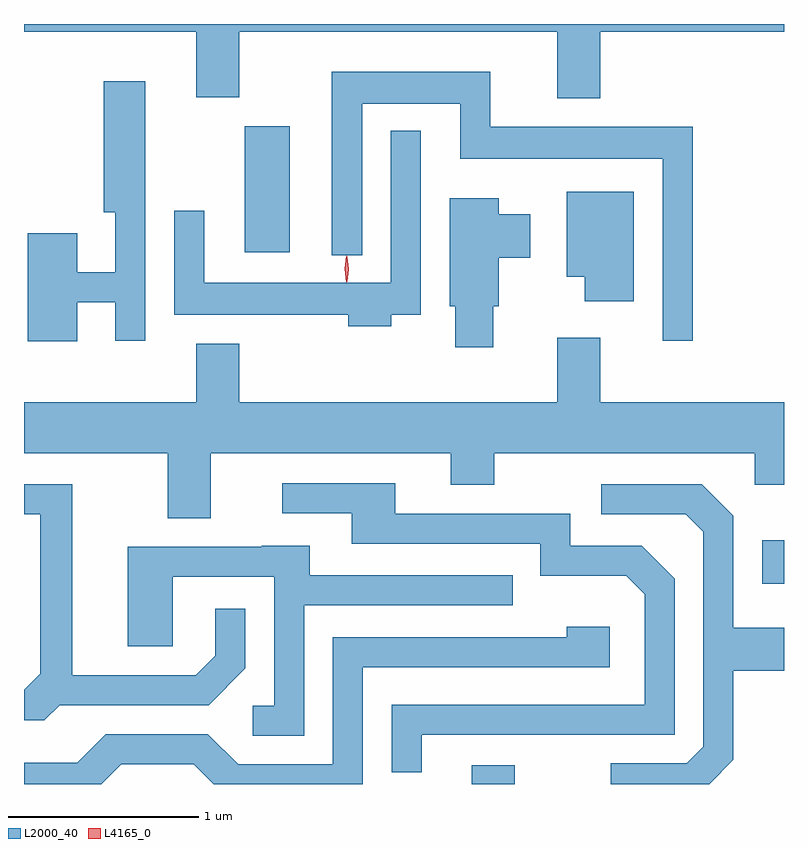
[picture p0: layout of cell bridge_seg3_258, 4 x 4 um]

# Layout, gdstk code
import gdstk
lib = gdstk.Library(unit=1e-6, precision=1e-09)
def R(c, l, rs):  # rectangles x0, y0, x1, y1
    for r in rs: c.add(gdstk.rectangle(r[:2], r[2:], *l))
def P(c, l, *ps):  # polygons
    for p in ps: c.add(gdstk.Polygon(p, *l))
L2000_40 = (2000, 40)
L4165_0 = (4165, 0)

bridge_seg3_258 = lib.new_cell('bridge_seg3_258')
R(bridge_seg3_258, L2000_40, [(1041.221,1133.156,1041.449,1133.254), (1042.751,1134.211,1042.865,1134.439), (1040.026,1135.956,1040.264,1136.619)])
P(bridge_seg3_258, L2000_40, [(1041.899,1137.116),(1042.865,1137.116),(1042.865,1137.156),(1038.865,1137.156),(1038.865,1137.116),(1039.771,1137.116),(1039.771,1136.771),(1039.999,1136.771),(1039.999,1137.116),(1041.671,1137.116),(1041.671,1136.766),(1041.899,1136.766)],
  [(1042.384,1136.614),(1041.319,1136.614),(1041.319,1136.904),(1040.486,1136.904),(1040.486,1135.938),(1040.644,1135.938),(1040.644,1136.736),(1041.161,1136.736),(1041.161,1136.446),(1042.226,1136.446),(1042.226,1135.488),(1042.384,1135.488)],
  [(1039.144,1135.691),(1039.346,1135.691),(1039.346,1135.488),(1039.504,1135.488),(1039.504,1136.854),(1039.286,1136.854),(1039.286,1136.166),(1039.346,1136.166),(1039.346,1135.849),(1039.144,1135.849),(1039.144,1136.054),(1038.886,1136.054),(1038.886,1135.486),(1039.144,1135.486)],
  [(1040.799,1135.626),(1040.954,1135.626),(1040.954,1136.593),(1040.796,1136.593),(1040.796,1135.794),(1039.814,1135.794),(1039.814,1136.173),(1039.656,1136.173),(1039.656,1135.626),(1040.571,1135.626),(1040.571,1135.566),(1040.799,1135.566)],
  [(1042.074,1136.274),(1041.721,1136.274),(1041.721,1135.826),(1041.816,1135.826),(1041.816,1135.696),(1042.074,1135.696)],
  [(1041.334,1135.671),(1041.364,1135.671),(1041.364,1135.926),(1041.529,1135.926),(1041.529,1136.154),(1041.364,1136.154),(1041.364,1136.239),(1041.106,1136.239),(1041.106,1135.671),(1041.136,1135.671),(1041.136,1135.456),(1041.334,1135.456)],
  [(1039.771,1135.164),(1038.865,1135.164),(1038.865,1134.896),(1039.621,1134.896),(1039.621,1134.556),(1039.849,1134.556),(1039.849,1134.896),(1041.111,1134.896),(1041.111,1134.731),(1041.339,1134.731),(1041.339,1134.896),(1042.711,1134.896),(1042.711,1134.731),(1042.865,1134.731),(1042.865,1135.164),(1041.899,1135.164),(1041.899,1135.504),(1041.671,1135.504),(1041.671,1135.164),(1039.999,1135.164),(1039.999,1135.474),(1039.771,1135.474)],
  [(1040.959,1133.416),(1042.289,1133.416),(1042.289,1134.237),(1042.117,1134.409),(1041.739,1134.409),(1041.739,1134.579),(1040.819,1134.579),(1040.819,1134.739),(1040.223,1134.739),(1040.223,1134.581),(1040.591,1134.581),(1040.591,1134.421),(1041.581,1134.421),(1041.581,1134.251),(1042.034,1134.251),(1042.131,1134.154),(1042.131,1133.574),(1040.801,1133.574),(1040.801,1133.218),(1040.959,1133.218)],
  [(1042.599,1133.284),(1042.599,1133.751),(1042.865,1133.751),(1042.865,1133.979),(1042.599,1133.979),(1042.599,1134.567),(1042.431,1134.734),(1041.902,1134.734),(1041.902,1134.576),(1042.349,1134.576),(1042.441,1134.484),(1042.441,1133.352),(1042.353,1133.264),(1041.953,1133.264),(1041.953,1133.156),(1042.471,1133.156)],
  [(1039.052,1133.571),(1039.837,1133.571),(1040.029,1133.764),(1040.029,1134.078),(1039.871,1134.078),(1039.871,1133.832),(1039.769,1133.729),(1039.119,1133.729),(1039.119,1134.734),(1038.865,1134.734),(1038.865,1134.576),(1038.951,1134.576),(1038.951,1133.737),(1038.865,1133.651),(1038.865,1133.491),(1038.972,1133.491)],
  [(1040.339,1134.096),(1041.438,1134.096),(1041.438,1134.254),(1040.369,1134.254),(1040.369,1134.409),(1040.115,1134.409),(1040.115,1134.404),(1039.411,1134.404),(1039.411,1133.881),(1039.649,1133.881),(1039.649,1134.246),(1040.181,1134.246),(1040.181,1133.569),(1040.068,1133.569),(1040.068,1133.411),(1040.339,1133.411)],
  [(1039.377,1133.261),(1039.758,1133.261),(1039.864,1133.156),(1040.649,1133.156),(1040.649,1133.771),(1041.949,1133.771),(1041.949,1133.984),(1041.721,1133.984),(1041.721,1133.929),(1040.491,1133.929),(1040.491,1133.259),(1039.992,1133.259),(1039.832,1133.419),(1039.294,1133.419),(1039.144,1133.269),(1038.865,1133.269),(1038.865,1133.156),(1039.272,1133.156)])
P(bridge_seg3_258, L4165_0, [(1040.565,1135.799),(1040.564,1135.8),(1040.555,1135.866),(1040.564,1135.932),(1040.565,1135.933),(1040.565,1135.932),(1040.575,1135.866),(1040.565,1135.8)],
  [(1040.562,1135.797),(1040.561,1135.798),(1040.552,1135.867),(1040.561,1135.936),(1040.562,1135.936),(1040.562,1135.936),(1040.572,1135.867),(1040.562,1135.798)])

lib.write_gds('bridge_seg3_258.gds')
